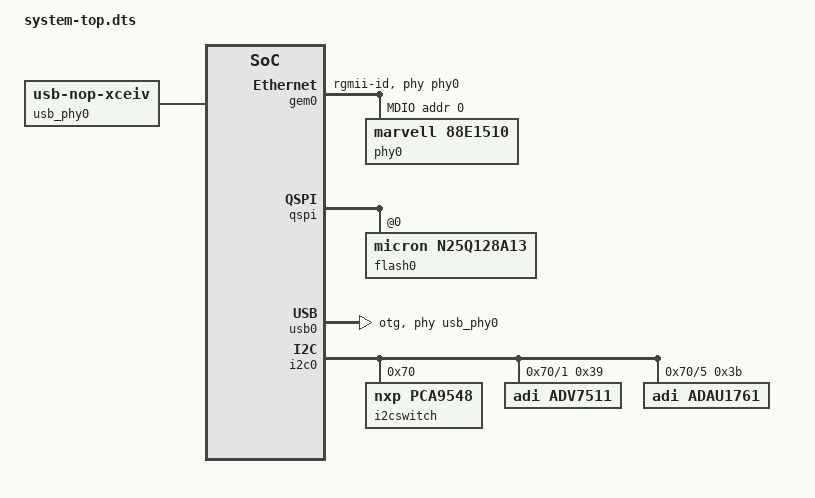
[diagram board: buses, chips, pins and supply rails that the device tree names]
/dts-v1/;
/include/ "system-conf.dtsi"
/ {
};

&gem0 {
	phy-handle = <&phy0>;
	phy-mode = "rgmii-id";
	
	ps7_ethernet_0_mdio: mdio {
		#address-cells = <1>;
		#size-cells = <0>;
		phy0: phy@0 {
			compatible = "marvell,88e1510";
			device_type = "ethernet-phy";
			reg = <0x0>;
			marvell,reg-init = <3 16 0xff00 0x1e 3 17 0xfff0 0x00>;
		};
	};
};

&qspi {
	flash0: flash@0 {
		compatible = "micron,n25q128a13";
	};
};

/{
    usb_phy0:usb_phy@0 {
        compatible="usb-nop-xceiv";
        #phy-cells = <0>;
    };
};


&usb0 {
	dr_mode = "otg";
	usb-phy = <&usb_phy0>;
} ;

&i2c0 {
	#address-cells = <1>;
	#size-cells = <0>;
	i2cswitch@70 {
		compatible = "nxp,pca9548";
		#address-cells = <1>;
		#size-cells = <0>;
		reg = <0x70>;

		i2c@1 {
		    #address-cells = <1>;
		    #size-cells = <0>;
		    reg = <1>;
		    adv7511: adv7511 {
			compatible = "adi,adv7511";
			reg = <0x39>;
			adi,input-style = <0x02>;
			adi,input-id = <0x01>;
			adi,input-color-depth = <0x3>;
			adi,sync-pulse = <0x03>;
			adi,bit-justification = <0x01>;
			adi,up-conversion = <0x00>;
			adi,timing-generation-sequence = <0x00>;
			adi,vsync-polarity = <0x02>;
			adi,hsync-polarity = <0x02>;
			adi,tdms-clock-inversion;
			adi,clock-delay = <0x03>;
		    };
		};

		fmc_i2c: i2c@3 {
			#size-cells = <0>;
			#address-cells = <1>;
			reg = <3>;
		};

		i2c_adau1761: i2c@5 {
		    	#size-cells = <0>;
		        #address-cells = <1>;
		        reg = <5>;

		        adau1761: adau1761@3b {
			    compatible = "adi,adau1761";
			    reg = <0x3b>;
		        };
		};
	};
};
